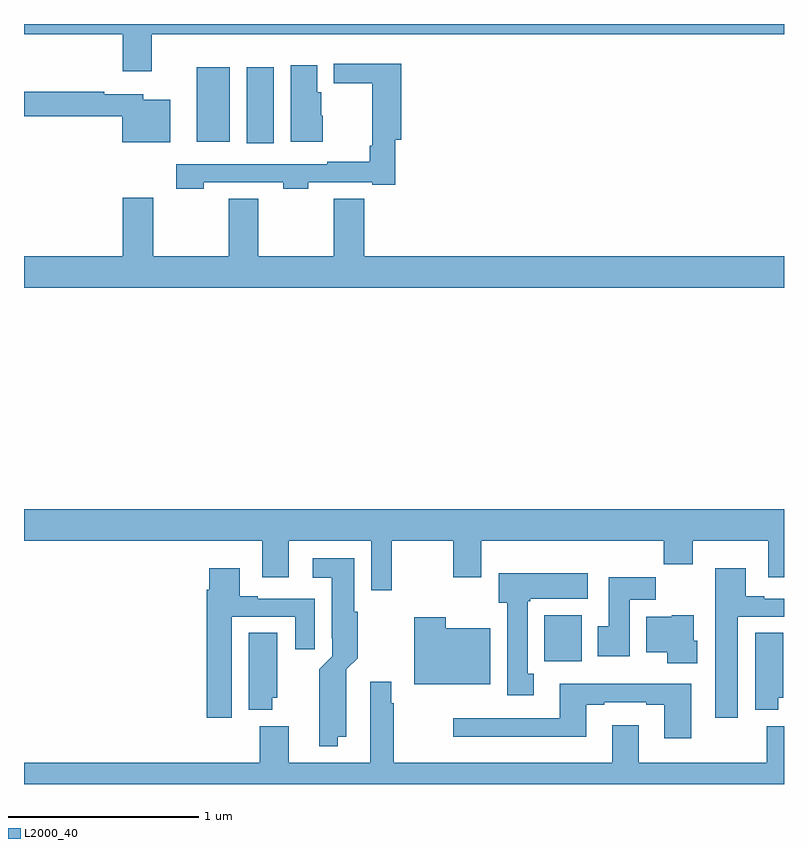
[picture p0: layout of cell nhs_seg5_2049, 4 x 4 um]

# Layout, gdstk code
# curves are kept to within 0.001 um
import gdstk
lib = gdstk.Library(unit=1e-6, precision=1e-09)
def R(c, l, rs):  # rectangles x0, y0, x1, y1
    for r in rs: c.add(gdstk.rectangle(r[:2], r[2:], *l))
def P(c, l, *ps):  # polygons
    for p in ps: c.add(gdstk.Polygon(p, *l))
L2000_40 = (2000, 40)

nhs_seg5_2049 = lib.new_cell('nhs_seg5_2049')
R(nhs_seg5_2049, L2000_40, [(233.738,869.444,233.935,869.686), (232.172,872.172,232.315,872.572), (231.908,872.18,232.084,872.572)])
P(nhs_seg5_2049, L2000_40, [(231.673,872.744),(235,872.744),(235,872.799),(231,872.799),(231,872.744),(231.521,872.744),(231.521,872.55),(231.673,872.55)],
  [(231.945,871.965),(232.365,871.965),(232.365,871.933),(232.497,871.933),(232.497,871.965),(232.832,871.965),(232.832,871.953),(232.955,871.953),(232.955,872.189),(232.985,872.189),(232.985,872.59),(232.629,872.59),(232.629,872.488),(232.834,872.488),(232.834,872.158),(232.819,872.158),(232.819,872.074),(232.597,872.074),(232.597,872.061),(231.801,872.061),(231.801,871.933),(231.945,871.933)],
  [(232.573,872.316),(232.564,872.316),(232.564,872.439),(232.543,872.439),(232.543,872.581),(232.403,872.581),(232.403,872.18),(232.573,872.18)],
  [(231.769,872.401),(231.628,872.401),(231.628,872.43),(231.422,872.43),(231.422,872.443),(231,872.443),(231,872.314),(231.518,872.314),(231.518,872.177),(231.769,872.177)],
  [(235,871.576),(232.79,871.576),(232.79,871.88),(232.63,871.88),(232.63,871.576),(232.232,871.576),(232.232,871.88),(232.078,871.88),(232.078,871.576),(231.681,871.576),(231.681,871.885),(231.521,871.885),(231.521,871.576),(231,871.576),(231,871.412),(235,871.412)],
  [(232.936,870.08),(233.26,870.08),(233.26,869.886),(233.407,869.886),(233.407,870.08),(234.367,870.08),(234.367,869.956),(234.519,869.956),(234.519,870.08),(234.917,870.08),(234.917,869.886),(235,869.886),(235,870.244),(231,870.244),(231,870.08),(232.253,870.08),(232.253,869.886),(232.393,869.886),(232.393,870.08),(232.827,870.08),(232.827,869.82),(232.936,869.82)],
  [(232.651,869.048),(232.696,869.048),(232.697,869.402),(232.756,869.461),(232.756,869.706),(232.738,869.706),(232.738,869.986),(232.521,869.986),(232.521,869.885),(232.619,869.885),(232.619,869.566),(232.623,869.566),(232.623,869.472),(232.553,869.402),(232.554,868.997),(232.651,868.997)],
  [(234.757,869.679),(235,869.679),(235,869.775),(234.895,869.775),(234.895,869.788),(234.799,869.788),(234.799,869.935),(234.638,869.935),(234.638,869.148),(234.757,869.148)],
  [(232.093,869.679),(232.427,869.679),(232.427,869.508),(232.531,869.508),(232.531,869.775),(232.231,869.775),(232.231,869.788),(232.135,869.788),(232.135,869.935),(231.974,869.935),(231.974,869.822),(231.962,869.822),(231.962,869.148),(232.093,869.148)],
  [(233.683,869.378),(233.65,869.378),(233.65,869.761),(233.664,869.761),(233.664,869.774),(233.968,869.774),(233.968,869.908),(233.498,869.908),(233.498,869.754),(233.543,869.754),(233.543,869.265),(233.683,869.265)],
  [(234.187,869.768),(234.326,869.768),(234.326,869.887),(234.077,869.887),(234.077,869.628),(234.02,869.628),(234.02,869.472),(234.187,869.472)],
  [(234.544,869.553),(234.526,869.553),(234.526,869.686),(234.408,869.686),(234.408,869.68),(234.275,869.68),(234.275,869.492),(234.386,869.492),(234.386,869.435),(234.544,869.435)],
  [(233.455,869.62),(233.22,869.62),(233.22,869.677),(233.054,869.677),(233.054,869.324),(233.455,869.324)],
  [(232.306,869.253),(232.333,869.253),(232.333,869.594),(232.184,869.594),(232.184,869.189),(232.306,869.189)],
  [(234.97,869.253),(234.997,869.253),(234.997,869.594),(234.848,869.594),(234.848,869.189),(234.97,869.189)],
  [(235,869.104),(234.91,869.104),(234.91,868.912),(234.235,868.912),(234.235,869.107),(234.095,869.107),(234.095,868.912),(232.946,868.912),(232.946,869.225),(232.933,869.225),(232.933,869.338),(232.823,869.338),(232.823,868.912),(232.393,868.912),(232.393,869.104),(232.241,869.104),(232.241,868.912),(231,868.912),(231,868.799),(235,868.799)],
  [(234.511,869.326),(233.819,869.326),(233.819,869.145),(233.259,869.145),(233.259,869.048),(233.959,869.048),(233.959,869.217),(234.055,869.217),(234.055,869.229),(234.275,869.229),(234.275,869.217),(234.371,869.217),(234.371,869.04),(234.511,869.04)])

lib.write_gds('nhs_seg5_2049.gds')
